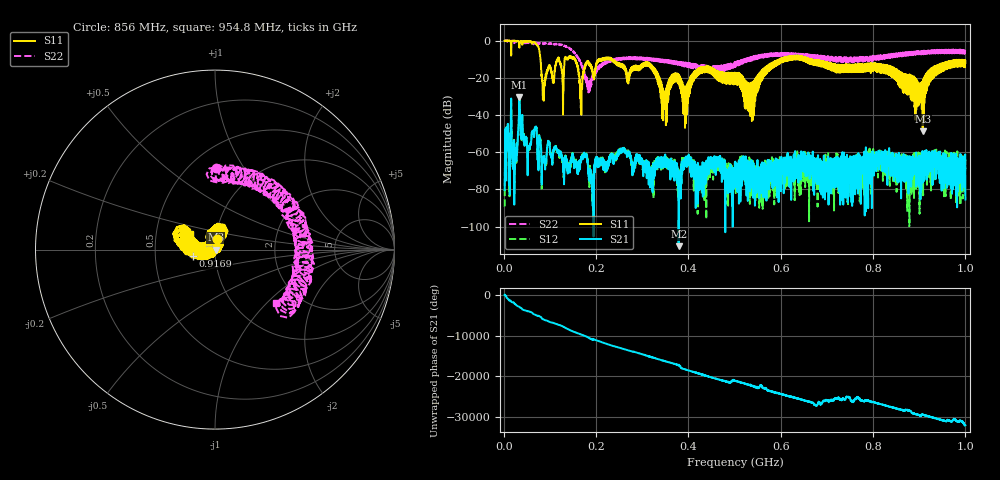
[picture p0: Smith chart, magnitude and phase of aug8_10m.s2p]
!Keysight Technologies N9923A: A.12.45
!Date: Friday, 08 August 2025 17:33:31
!Timezone: (UTC+08:00) Kuala Lumpur, Singapore
!Model: N9923A
!Serial: MY61181427
!GPS Latitude:
!GPS Longitude:
!GPS TimeStamp: 0001-01-01 00:00:00Z
!GPS Seconds Since Last Read: 0
!CHECKSUM:0184109161
!Correction: S11(ON U)S21(ON U)S12(ON U)S22(ON U)
!S2P File: Measurements:S11,S21,S12,S22:
# Hz S DB R 50
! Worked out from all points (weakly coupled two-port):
!   4001 points, 2 MHz to 1 GHz, reference 50 ohm
!   highest |S21| = -30.34 dB at 33.94 MHz (marker M1); lowest = -110.5 dB at 379 MHz (marker M2)
!   lowest |S11| = -48.7 dB at 907.4 MHz (marker M3), VSWR 1.01, Z = 50.4 + j0.0477 ohm
!   |S11| at or under -10 dB: 155 MHz to 206 MHz (50.99 MHz wide, 28.3 % of centre); 234.5 MHz to 599.4 MHz (364.9 MHz wide, 87.5 % of centre); 665.4 MHz to end of sweep (the widest 3 of 66)
!   |S22| runs from -27.9 to 0.0 dB; largest |S21 - S12| = 0.0015
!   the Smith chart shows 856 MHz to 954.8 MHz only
!   S11 on the Smith chart (normalised r, x): 856 MHz: 1.02, +0.12; 916.9 MHz: 0.78, -0.06; 954.8 MHz: 0.74, +0.14
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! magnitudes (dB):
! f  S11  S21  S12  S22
! 2 MHz  -0.1  -80.5  -89.2  0.0
! 12.23 MHz  -0.1  -77.4  -79.5  -0.1
! 24.21 MHz  -0.3  -62.2  -61.6  -0.6
! 33.94 MHz  -3.9  -30.3  -30.3  -1.4
! 72.11 MHz  -2.3  -51.9  -52.3  -1.2
! 86.83 MHz  -32.3  -63.5  -63.1  -1.9
! 145.2 MHz  -8.5  -64.8  -65.5  -4.9
! 168.4 MHz  -35.7  -62.7  -62.6  -12.8
! 185.4 MHz  -12.1  -72.4  -68.6  -27.4
! 222.6 MHz  -9.2  -66.1  -65.9  -11.3
! 334.8 MHz  -19.4  -64.2  -63.7  -11.3
! 348.3 MHz  -35.5  -62.3  -64.7  -11.8
! 379 MHz  -18.9  -110.5  -84.2  -12.1
! 501 MHz  -17.3  -73.0  -69.7  -14.2
! 535.2 MHz  -22.7  -66.3  -67.3  -9.8
! 667.4 MHz  -10.5  -65.4  -68.3  -8.3
! 833.8 MHz  -17.6  -62.4  -65.7  -8.2
! 856 MHz  -24.2  -66.6  -61.1  -6.8
! 907.4 MHz  -48.7  -76.5  -66.2  -7.1
! 916.9 MHz  -17.8  -62.1  -65.2  -5.4
! 954.8 MHz  -15.6  -61.3  -63.9  -7.0
! 1 GHz  -12.0  -85.4  -63.9  -6.1
